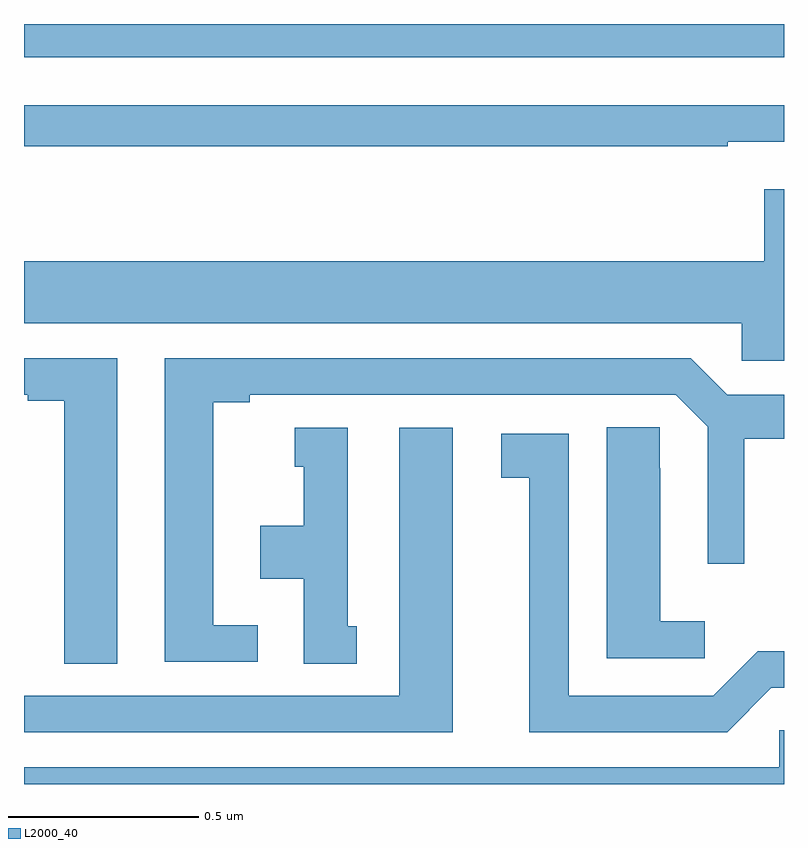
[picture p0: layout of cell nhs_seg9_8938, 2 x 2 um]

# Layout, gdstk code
import gdstk
lib = gdstk.Library(unit=1e-6, precision=1e-09)
def R(c, l, rs):  # rectangles x0, y0, x1, y1
    for r in rs: c.add(gdstk.rectangle(r[:2], r[2:], *l))
def P(c, l, *ps):  # polygons
    for p in ps: c.add(gdstk.Polygon(p, *l))
L2000_40 = (2000, 40)

nhs_seg9_8938 = lib.new_cell('nhs_seg9_8938')
R(nhs_seg9_8938, L2000_40, [(223,1238.412,225,1238.5)])
P(nhs_seg9_8938, L2000_40, [(224.852,1238.19),(225,1238.19),(225,1238.286),(223,1238.286),(223,1238.178),(224.852,1238.178)],
  [(225,1238.065),(224.948,1238.065),(224.948,1237.876),(223,1237.876),(223,1237.712),(224.889,1237.712),(224.889,1237.614),(225,1237.614)],
  [(223.615,1236.918),(223.498,1236.918),(223.498,1237.504),(223.594,1237.504),(223.594,1237.524),(224.715,1237.524),(224.799,1237.44),(224.799,1237.08),(224.896,1237.08),(224.896,1237.408),(225,1237.408),(225,1237.524),(224.851,1237.524),(224.755,1237.62),(223.37,1237.62),(223.37,1236.822),(223.615,1236.822)],
  [(223.246,1237.62),(223,1237.62),(223,1237.524),(223.01,1237.524),(223.01,1237.509),(223.106,1237.509),(223.106,1236.817),(223.246,1236.817)],
  [(224.791,1236.928),(224.674,1236.928),(224.674,1237.331),(224.673,1237.331),(224.673,1237.439),(224.534,1237.439),(224.534,1236.831),(224.791,1236.831)],
  [(223.876,1236.915),(223.852,1236.915),(223.852,1237.438),(223.712,1237.438),(223.712,1237.335),(223.736,1237.335),(223.736,1237.18),(223.622,1237.18),(223.622,1237.04),(223.736,1237.04),(223.736,1236.817),(223.876,1236.817)],
  [(224.128,1237.438),(223.988,1237.438),(223.988,1236.732),(223,1236.732),(223,1236.636),(224.128,1236.636)],
  [(224.967,1236.753),(225,1236.753),(225,1236.849),(224.931,1236.849),(224.814,1236.732),(224.434,1236.732),(224.434,1237.422),(224.256,1237.422),(224.256,1237.306),(224.33,1237.306),(224.33,1236.636),(224.85,1236.636)],
  [(225,1236.642),(224.988,1236.642),(224.988,1236.544),(223,1236.544),(223,1236.5),(225,1236.5)])

lib.write_gds('nhs_seg9_8938.gds')
